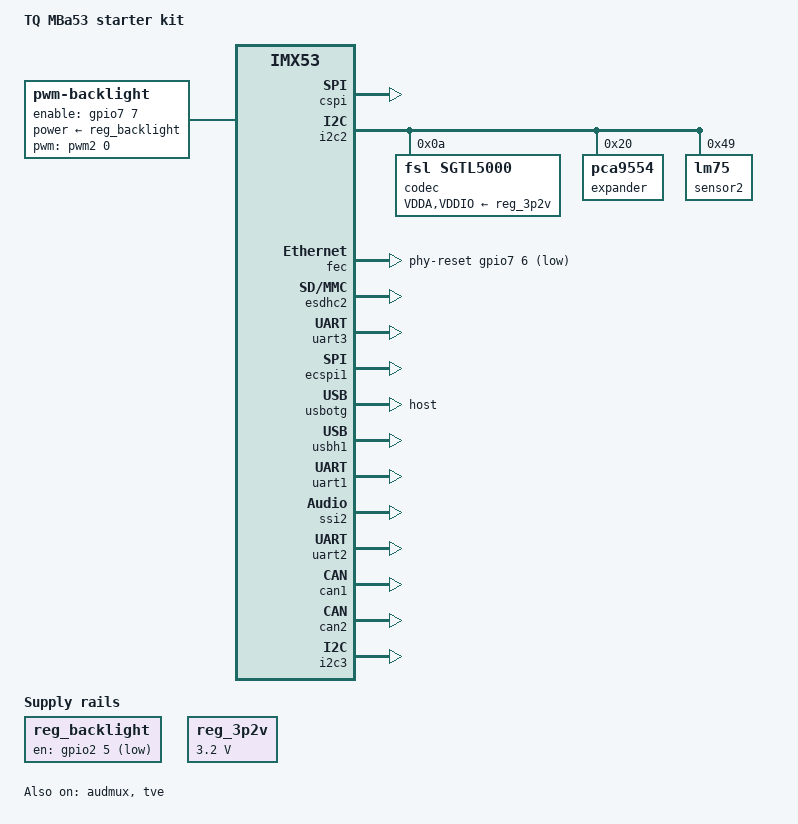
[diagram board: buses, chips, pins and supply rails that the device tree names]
// SPDX-License-Identifier: GPL-2.0-or-later
/*
 * Copyright 2012 Sascha Hauer <s.hauer@pengutronix.de>, Pengutronix
 * Copyright 2012 Steffen Trumtrar <s.trumtrar@pengutronix.de>, Pengutronix
 */

/dts-v1/;
#include "imx53-tqma53.dtsi"

/ {
	model = "TQ MBa53 starter kit";
	compatible = "tq,mba53", "tq,tqma53", "fsl,imx53";

	chosen {
		stdout-path = &uart2;
	};

	backlight {
		compatible = "pwm-backlight";
		pwms = <&pwm2 0 50000>;
		brightness-levels = <0 24 28 32 36 40 44 48 52 56 60 64 68 72 76 80 84 88 92 96 100>;
		default-brightness-level = <10>;
		enable-gpios = <&gpio7 7 0>;
		power-supply = <&reg_backlight>;
	};

	disp1: disp1 {
		compatible = "fsl,imx-parallel-display";
		pinctrl-names = "default";
		pinctrl-0 = <&pinctrl_disp1_1>;
		interface-pix-fmt = "rgb24";
		status = "disabled";

		port {
			display1_in: endpoint {
				remote-endpoint = <&ipu_di1_disp1>;
			};
		};
	};

	regulators {
		compatible = "simple-bus";
		#address-cells = <1>;
		#size-cells = <0>;

		reg_backlight: regulator@0 {
			compatible = "regulator-fixed";
			reg = <0>;
			regulator-name = "lcd-supply";
			gpio = <&gpio2 5 0>;
			startup-delay-us = <5000>;
		};

		reg_3p2v: regulator@1 {
			compatible = "regulator-fixed";
			reg = <1>;
			regulator-name = "3P2V";
			regulator-min-microvolt = <3200000>;
			regulator-max-microvolt = <3200000>;
			regulator-always-on;
		};
	};

	sound {
		compatible = "tq,imx53-mba53-sgtl5000",
			     "fsl,imx-audio-sgtl5000";
		model = "imx53-mba53-sgtl5000";
		ssi-controller = <&ssi2>;
		audio-codec = <&codec>;
		audio-routing =
			"MIC_IN", "Mic Jack",
			"Mic Jack", "Mic Bias",
			"Headphone Jack", "HP_OUT";
		mux-int-port = <2>;
		mux-ext-port = <5>;
	};
};

&ldb {
	pinctrl-names = "default";
	pinctrl-0 = <&pinctrl_lvds1_1>;
	status = "disabled";
};

&iomuxc {
	lvds1 {
		pinctrl_lvds1_1: lvds1-grp1 {
			fsl,pins = <
				MX53_PAD_LVDS0_TX3_P__LDB_LVDS0_TX3 0x80000000
				MX53_PAD_LVDS0_CLK_P__LDB_LVDS0_CLK 0x80000000
				MX53_PAD_LVDS0_TX2_P__LDB_LVDS0_TX2 0x80000000
				MX53_PAD_LVDS0_TX1_P__LDB_LVDS0_TX1 0x80000000
				MX53_PAD_LVDS0_TX0_P__LDB_LVDS0_TX0 0x80000000
			>;
		};

		pinctrl_lvds1_2: lvds1-grp2 {
			fsl,pins = <
				MX53_PAD_LVDS1_TX3_P__LDB_LVDS1_TX3 0x80000000
				MX53_PAD_LVDS1_TX2_P__LDB_LVDS1_TX2 0x80000000
				MX53_PAD_LVDS1_CLK_P__LDB_LVDS1_CLK 0x80000000
				MX53_PAD_LVDS1_TX1_P__LDB_LVDS1_TX1 0x80000000
				MX53_PAD_LVDS1_TX0_P__LDB_LVDS1_TX0 0x80000000
			>;
		};
	};

	disp1 {
		pinctrl_disp1_1: disp1-grp1 {
			fsl,pins = <
				MX53_PAD_EIM_A16__IPU_DI1_DISP_CLK 0x80000000 /* DISP1_CLK */
				MX53_PAD_EIM_DA10__IPU_DI1_PIN15   0x80000000 /* DISP1_DRDY */
				MX53_PAD_EIM_D23__IPU_DI1_PIN2     0x80000000 /* DISP1_HSYNC */
				MX53_PAD_EIM_EB3__IPU_DI1_PIN3     0x80000000 /* DISP1_VSYNC */
				MX53_PAD_EIM_D26__IPU_DISP1_DAT_22 0x80000000
				MX53_PAD_EIM_D27__IPU_DISP1_DAT_23 0x80000000
				MX53_PAD_EIM_D30__IPU_DISP1_DAT_21 0x80000000
				MX53_PAD_EIM_D31__IPU_DISP1_DAT_20 0x80000000
				MX53_PAD_EIM_A24__IPU_DISP1_DAT_19 0x80000000
				MX53_PAD_EIM_A23__IPU_DISP1_DAT_18 0x80000000
				MX53_PAD_EIM_A22__IPU_DISP1_DAT_17 0x80000000
				MX53_PAD_EIM_A21__IPU_DISP1_DAT_16 0x80000000
				MX53_PAD_EIM_A20__IPU_DISP1_DAT_15 0x80000000
				MX53_PAD_EIM_A19__IPU_DISP1_DAT_14 0x80000000
				MX53_PAD_EIM_A18__IPU_DISP1_DAT_13 0x80000000
				MX53_PAD_EIM_A17__IPU_DISP1_DAT_12 0x80000000
				MX53_PAD_EIM_EB0__IPU_DISP1_DAT_11 0x80000000
				MX53_PAD_EIM_EB1__IPU_DISP1_DAT_10 0x80000000
				MX53_PAD_EIM_DA0__IPU_DISP1_DAT_9  0x80000000
				MX53_PAD_EIM_DA1__IPU_DISP1_DAT_8  0x80000000
				MX53_PAD_EIM_DA2__IPU_DISP1_DAT_7  0x80000000
				MX53_PAD_EIM_DA3__IPU_DISP1_DAT_6  0x80000000
				MX53_PAD_EIM_DA4__IPU_DISP1_DAT_5  0x80000000
				MX53_PAD_EIM_DA5__IPU_DISP1_DAT_4  0x80000000
				MX53_PAD_EIM_DA6__IPU_DISP1_DAT_3  0x80000000
				MX53_PAD_EIM_DA7__IPU_DISP1_DAT_2  0x80000000
				MX53_PAD_EIM_DA8__IPU_DISP1_DAT_1  0x80000000
				MX53_PAD_EIM_DA9__IPU_DISP1_DAT_0  0x80000000
			>;
		};
	};

	tve {
		pinctrl_vga_sync_1: vgasync-grp1 {
			fsl,pins = <
				/* VGA_VSYNC, HSYNC with max drive strength */
				MX53_PAD_EIM_CS1__IPU_DI1_PIN6	   0xe6
				MX53_PAD_EIM_DA15__IPU_DI1_PIN4	   0xe6
			>;
		};
	};
};

&ipu_di1_disp1 {
	remote-endpoint = <&display1_in>;
};

&cspi {
	status = "okay";
};

&audmux {
	status = "okay";
	pinctrl-names = "default";
	pinctrl-0 = <&pinctrl_audmux>;
};

&i2c2 {
	codec: sgtl5000@a {
		compatible = "fsl,sgtl5000";
		reg = <0x0a>;
		clocks = <&clks IMX5_CLK_SSI_EXT1_GATE>;
		VDDA-supply = <&reg_3p2v>;
		VDDIO-supply = <&reg_3p2v>;
	};

	expander: pca9554@20 {
		compatible = "pca9554";
		reg = <0x20>;
		interrupts = <109>;
		#gpio-cells = <2>;
		gpio-controller;
	};

	sensor2: lm75@49 {
		compatible = "lm75";
		reg = <0x49>;
	};
};

&fec {
	phy-reset-gpios = <&gpio7 6 GPIO_ACTIVE_LOW>;
	status = "okay";
};

&esdhc2 {
	status = "okay";
};

&uart3 {
	status = "okay";
};

&ecspi1 {
	status = "okay";
};

&usbotg {
	dr_mode = "host";
	status = "okay";
};

&usbh1 {
	status = "okay";
};

&uart1 {
	status = "okay";
};

&ssi2 {
	status = "okay";
};

&uart2 {
	status = "okay";
};

&can1 {
	status = "okay";
};

&can2 {
	status = "okay";
};

&i2c3 {
	status = "okay";
};

&tve {
	pinctrl-names = "default";
	pinctrl-0 = <&pinctrl_vga_sync_1>;
	ddc-i2c-bus = <&i2c3>;
	fsl,tve-mode = "vga";
	fsl,hsync-pin = <4>;
	fsl,vsync-pin = <6>;
	status = "okay";
};
